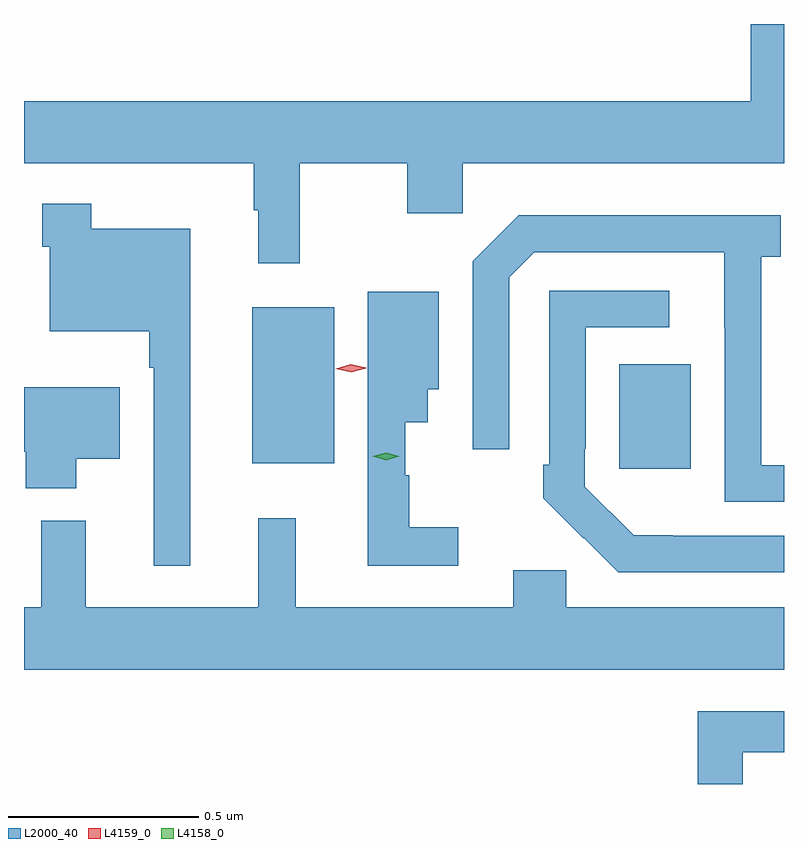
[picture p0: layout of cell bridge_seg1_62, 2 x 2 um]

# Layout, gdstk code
import gdstk
lib = gdstk.Library(unit=1e-6, precision=1e-09)
def R(c, l, rs):  # rectangles x0, y0, x1, y1
    for r in rs: c.add(gdstk.rectangle(r[:2], r[2:], *l))
def P(c, l, *ps):  # polygons
    for p in ps: c.add(gdstk.Polygon(p, *l))
L2000_40 = (2000, 40)
L4158_0 = (4158, 0)
L4159_0 = (4159, 0)

bridge_seg1_62 = lib.new_cell('bridge_seg1_62')
R(bridge_seg1_62, L2000_40, [(423.983,561.585,424.171,561.859), (423.017,561.599,423.232,562.009)])
P(bridge_seg1_62, L2000_40, [(423.142,562.388),(423.424,562.388),(423.424,562.257),(423.57,562.257),(423.57,562.388),(424.416,562.388),(424.416,562.755),(424.328,562.755),(424.328,562.552),(422.416,562.552),(422.416,562.388),(423.021,562.388),(423.021,562.265),(423.032,562.265),(423.032,562.125),(423.142,562.125)],
  [(422.854,562.216),(422.593,562.216),(422.593,562.282),(422.464,562.282),(422.464,562.169),(422.484,562.169),(422.484,561.947),(422.745,561.947),(422.745,561.851),(422.757,561.851),(422.757,561.33),(422.854,561.33)],
  [(424.416,561.594),(424.356,561.594),(424.356,562.142),(424.408,562.142),(424.408,562.252),(423.718,562.252),(423.597,562.131),(423.597,561.636),(423.693,561.636),(423.693,562.089),(423.759,562.155),(424.259,562.155),(424.259,561.955),(424.26,561.955),(424.26,561.498),(424.416,561.498)],
  [(424.416,561.408),(424.123,561.408),(424.123,561.409),(424.02,561.409),(423.891,561.537),(423.891,561.637),(423.894,561.637),(423.894,561.957),(424.114,561.957),(424.114,562.053),(423.798,562.053),(423.798,561.595),(423.783,561.595),(423.783,561.507),(423.888,561.402),(423.889,561.403),(423.98,561.312),(424.416,561.312)],
  [(423.559,561.431),(423.43,561.431),(423.43,561.567),(423.419,561.567),(423.419,561.707),(423.478,561.707),(423.478,561.794),(423.508,561.794),(423.508,562.051),(423.32,562.051),(423.32,561.811),(423.321,561.811),(423.321,561.33),(423.559,561.33)],
  [(422.554,561.611),(422.668,561.611),(422.668,561.799),(422.416,561.799),(422.416,561.629),(422.42,561.629),(422.42,561.533),(422.554,561.533)],
  [(424.416,561.22),(423.843,561.22),(423.843,561.318),(423.704,561.318),(423.704,561.22),(423.131,561.22),(423.131,561.454),(423.032,561.454),(423.032,561.22),(422.579,561.22),(422.579,561.448),(422.461,561.448),(422.461,561.22),(422.416,561.22),(422.416,561.056),(424.416,561.056)],
  [(424.307,560.838),(424.416,560.838),(424.416,560.946),(424.189,560.946),(424.189,560.755),(424.307,560.755)])
P(bridge_seg1_62, L4158_0, [(423.369,561.607),(423.334,561.618),(423.334,561.618),(423.334,561.618),(423.369,561.627),(423.404,561.617),(423.404,561.617),(423.404,561.617)])
P(bridge_seg1_62, L4159_0, [(423.277,561.839),(423.237,561.848),(423.237,561.848),(423.237,561.848),(423.276,561.859),(423.316,561.85),(423.316,561.849),(423.316,561.849)])

lib.write_gds('bridge_seg1_62.gds')
